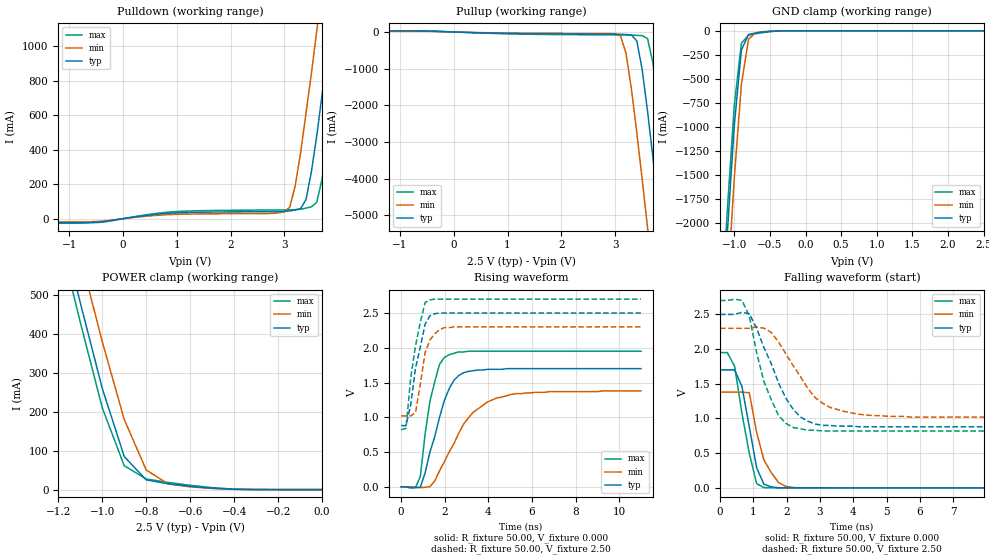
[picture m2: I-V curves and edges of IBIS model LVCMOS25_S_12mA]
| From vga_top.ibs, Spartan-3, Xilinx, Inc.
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|   Model LVCMOS25_S_12mA
[Model]   LVCMOS25_S_12mA
Model_type   I/O
Polarity   Non-Inverting
Enable   Active-Low
Vinl =   0.70V
Vinh =   1.70V
Vmeas =   1.25V
Cref =  0.000F
Rref =   1.00M
Vref =  0.000V
C_comp   6.38pF   4.60pF   8.23pF
[Temperature Range]   25.00   85.00   0.000
[Voltage Range]   2.50V   2.30V   2.70V
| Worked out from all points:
|   slope of the pulldown table from 0 to 0.375 V, typ, clamps not added: 22.4 ohm
|   slope of the pullup table from 0 to 0.375 V, typ, clamps not added: 20.9 ohm
|   GND clamp passes 1 mA (typ) near -0.38 V on its own axis
|   POWER clamp passes 1 mA (typ) near -0.41 V on its own axis
|   rising waveform, R_fixture 50.00, V_fixture 0.000: 20-80 % time 933ps typ, 1.61ns min, 617ps max; typ from 0 V to 1.7 V
|   rising waveform, R_fixture 50.00, V_fixture 2.50: 20-80 % time 541ps typ, 469ps min, 523ps max; typ from 0.88 V to 2.5 V
|   falling waveform, R_fixture 50.00, V_fixture 0.000: 20-80 % time 383ps typ, 489ps min, 434ps max; typ from 1.7 V to 0 V
|   falling waveform, R_fixture 50.00, V_fixture 2.50: 20-80 % time 901ps typ, 1.09ns min, 666ps max; typ from 2.5 V to 0.88 V
[Pulldown]
| voltage   I(typ)   I(min)   I(max)
-2.5V     -23.3mA    -18.33mA   -26.2mA
3V        42.13mA    39.99mA    51.11mA
3.1V      45.16mA    67.34mA    51.38mA
3.2V      50.35mA    190mA      52.3mA
3.4V      110mA      610mA      61.42mA
3.5V      270mA      840mA      69.02mA
3.6V      480mA      1.09A      94.47mA
3.7V      720mA      1.34A      230mA
3.8V      960mA      1.59A      440mA
4V        1.47A      2.1A       920mA
4.2V      1.98A      2.62A      1.42A
5V        4.06A      4.7A       3.49A
[Pullup]
| voltage   I(typ)   I(min)   I(max)
-2.5V     29.39mA    22.89mA    32.78mA
3.1V      -62.94mA   -110mA     -80.48mA
3.2V      -69.54mA   -580mA     -81.46mA
3.3V      -83.32mA   -1.55A     -84.45mA
3.4V      -240mA     -2.74A     -91.48mA
3.5V      -1.02A     -4.01A     -100mA
3.6V      -2.16A     -5.33A     -180mA
3.7V      -3.42A     -6.68A     -840mA
3.8V      -4.74A     -8.05A     -1.95A
4V        -7.47A     -10.81A    -4.52A
4.2V      -10.25A    -13.6A     -7.24A
5V        -21.56A    -24.91A    -18.51A
[GND_clamp]
| voltage   I(typ)   I(min)   I(max)
-2.5V     -21.56A    -22.07A    -21.35A
-1.2V     -3.41A     -4.01A     -3.17A
-1.1V     -2.14A     -2.73A     -1.9A
-1V       -990mA     -1.54A     -780mA
-900mV    -200mA     -560mA     -130mA
-800mV    -38.51mA   -87.42mA   -44.56mA
-700mV    -22.72mA   -20.52mA   -30.56mA
-400mV    -1.21mA    -970uA     -2.67mA
2.5V      19.29nA    8.49uA     24.01nA
[POWER_clamp]
| voltage   I(typ)   I(min)   I(max)
-2.5V     4.06A      4.18A      4.02A
-1.2V     710mA      840mA      660mA
-1.1V     480mA      600mA      430mA
-1V       260mA      380mA      210mA
-900mV    84.79mA    180mA      61.18mA
-800mV    24.88mA    50.29mA    27.26mA
-700mV    15.03mA    14.55mA    18.43mA
-600mV    8.66mA     7.1mA      11.09mA
-400mV    790uA      730uA      1.23mA
0V        19.29nA    79.37nA    32.11nA
[Ramp]
dV/dt_r   1.02/0.87n   0.83/1.68n   1.17/0.58n
dV/dt_f   0.97/0.82n   0.77/1.19n   1.13/0.63n
R_load = 50.00
[Rising Waveform]
R_fixture = 50.00
V_fixture = 0.000
| time   V(typ)   V(min)   V(max)
0s        0V         1.57uV     0V
660ps     -11.67mV   -6.64mV    -10.51mV
880ps     -6.84mV    -12.52mV   150mV
1.32ns    500mV      2.32mV     1.23V
1.76ns    1V         230mV      1.76V
2.2ns     1.41V      500mV      1.9V
2.64ns    1.6V       770mV      1.94V
3.3ns     1.67V      1.07V      1.95V
4.4ns     1.69V      1.28V      1.95V
11ns      1.7V       1.38V      1.95V
[Rising Waveform]
R_fixture = 50.00
V_fixture = 2.50
V_fixture_min = 2.30
V_fixture_max = 2.70
| time   V(typ)   V(min)   V(max)
0s        880mV      1.02V      820mV
220ps     880mV      1.02V      840mV
440ps     1.18V      1.02V      1.57V
660ps     1.71V      1.07V      2.03V
880ps     2.01V      1.48V      2.37V
1.1ns     2.34V      1.93V      2.65V
1.32ns    2.46V      2.11V      2.69V
1.76ns    2.5V       2.26V      2.7V
2.42ns    2.5V       2.3V       2.7V
11ns      2.5V       2.3V       2.7V
[Falling Waveform]
R_fixture = 50.00
V_fixture = 0.000
| time   V(typ)   V(min)   V(max)
0s        1.7V       1.38V      1.95V
220ps     1.7V       1.38V      1.95V
440ps     1.7V       1.38V      1.75V
660ps     1.46V      1.38V      1.07V
880ps     880mV      1.37V      500mV
1.1ns     290mV      800mV      61.49mV
1.32ns    52.25mV    400mV      3.4mV
1.76ns    1.88mV     75.37mV    710uV
2.2ns     640uV      4.99mV     270uV
11ns      160nV      1.61uV     230nV
[Falling Waveform]
R_fixture = 50.00
V_fixture = 2.50
V_fixture_min = 2.30
V_fixture_max = 2.70
| time   V(typ)   V(min)   V(max)
0s        2.5V       2.3V       2.7V
660ps     2.53V      2.3V       2.7V
880ps     2.51V      2.3V       2.48V
1.32ns    2.02V      2.3V       1.53V
1.76ns    1.51V      2.1V       1.04V
2.2ns     1.13V      1.76V      870mV
2.64ns    960mV      1.43V      830mV
3.08ns    900mV      1.22V      820mV
4.18ns    880mV      1.06V      820mV
11ns      880mV      1.02V      820mV
